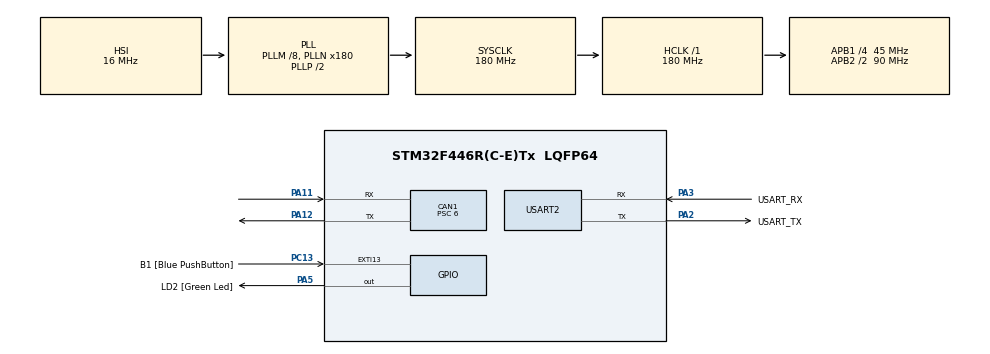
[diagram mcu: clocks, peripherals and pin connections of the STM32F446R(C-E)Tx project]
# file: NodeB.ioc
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CAN1.BS1=CAN_BS1_11TQ
CAN1.BS2=CAN_BS2_3TQ
CAN1.CalculateBaudRate=500000
CAN1.CalculateTimeBit=2000
CAN1.CalculateTimeQuantum=133.33333333333331
CAN1.Prescaler=6
FREERTOS.Tasks01=defaultTask,24,128,StartDefaultTask,Default,NULL,Dynamic,NULL,NULL
FREERTOS.configUSE_NEWLIB_REENTRANT=1
Mcu.Family=STM32F4
Mcu.Name=STM32F446R(C-E)Tx
Mcu.Package=LQFP64
NVIC.CAN1_RX0_IRQn=true\:5\:0\:false\:false\:true\:true\:true\:true\:true
NVIC.PriorityGroup=NVIC_PRIORITYGROUP_4
NVIC.TIM1_UP_TIM10_IRQn=true\:15\:0\:false\:false\:true\:false\:false\:true\:true
NVIC.TimeBase=TIM1_UP_TIM10_IRQn
NVIC.TimeBaseIP=TIM1
PA11.Mode=CAN_Activate
PA11.Signal=CAN1_RX
PA12.Mode=CAN_Activate
PA12.Signal=CAN1_TX
PA13.GPIO_Label=TMS
PA13.Mode=Serial_Wire
PA13.Signal=SYS_JTMS-SWDIO
PA14.GPIO_Label=TCK
PA14.Mode=Serial_Wire
PA14.Signal=SYS_JTCK-SWCLK
PA2.GPIO_Label=USART_TX
PA2.Mode=Asynchronous
PA2.Signal=USART2_TX
PA3.GPIO_Label=USART_RX
PA3.Mode=Asynchronous
PA3.Signal=USART2_RX
PA5.GPIO_Label=LD2 [Green Led]
PA5.Signal=GPIO_Output
PB3.GPIO_Label=SWO
PB3.Signal=SYS_JTDO-SWO
PC13.GPIO_Label=B1 [Blue PushButton]
PC13.GPIO_ModeDefaultEXTI=GPIO_MODE_IT_FALLING
PC13.Signal=GPXTI13
PC14-OSC32_IN.Signal=RCC_OSC32_IN
PC15-OSC32_OUT.Signal=RCC_OSC32_OUT
PH0-OSC_IN.Mode=HSE-External-Oscillator
PH0-OSC_IN.Signal=RCC_OSC_IN
PH1-OSC_OUT.Mode=HSE-External-Oscillator
PH1-OSC_OUT.Signal=RCC_OSC_OUT
ProjectManager.HeapSize=0x200
ProjectManager.StackSize=0x400
ProjectManager.TargetToolchain=STM32CubeIDE
RCC.AHBFreq_Value=180000000
RCC.APB1CLKDivider=RCC_HCLK_DIV4
RCC.APB1Freq_Value=45000000
RCC.APB1TimFreq_Value=90000000
RCC.APB2CLKDivider=RCC_HCLK_DIV2
RCC.APB2Freq_Value=90000000
RCC.APB2TimFreq_Value=180000000
RCC.CortexFreq_Value=180000000
RCC.FLatency-AdvancedSettings=FLASH_LATENCY_5
RCC.HCLKFreq_Value=180000000
RCC.HSE_VALUE=8000000
RCC.HSI_VALUE=16000000
RCC.LSE_VALUE=32768
RCC.PLLM=8
RCC.PLLN=180
RCC.SYSCLKFreq_VALUE=180000000
RCC.SYSCLKSource=RCC_SYSCLKSOURCE_PLLCLK
RCC.USBFreq_Value=180000000
RCC.VCOOutputFreq_Value=360000000
USART2.VirtualMode=VM_ASYNC
VP_FREERTOS_VS_CMSIS_V2.Mode=CMSIS_V2
VP_SYS_VS_tim1.Mode=TIM1
board=NUCLEO-F446RE

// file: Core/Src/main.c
/* USER CODE BEGIN Header */
/**
  ******************************************************************************
  * @file           : main.c
  * @brief          : Main program body
  ******************************************************************************
  * @attention
  *
  * Copyright (c) 2026 STMicroelectronics.
  * All rights reserved.
  *
  * This software is licensed under terms that can be found in the LICENSE file
  * in the root directory of this software component.
  * If no LICENSE file comes with this software, it is provided AS-IS.
  *
  ******************************************************************************
  */
/* USER CODE END Header */
#include "main.h"
#include "cmsis_os.h"

/* USER CODE BEGIN Includes */
#include "can_app.h"
#include "uart_log.h"
#include "tasks.h"
/* USER CODE END Includes */

CAN_HandleTypeDef hcan1;

UART_HandleTypeDef huart2;

/* Definitions for defaultTask */
osThreadId_t defaultTaskHandle;
const osThreadAttr_t defaultTask_attributes = {
  .name = "defaultTask",
  .stack_size = 128 * 4,
  .priority = (osPriority_t) osPriorityNormal,
};
/* USER CODE BEGIN PV */
osThreadId_t heartbeatTaskHandle;
osThreadId_t canTxTaskHandle;
osThreadId_t canRxTaskHandle;
osThreadId_t uartLogTaskHandle;
/* USER CODE END PV */

void SystemClock_Config(void);
static void MX_GPIO_Init(void);
static void MX_CAN1_Init(void);
static void MX_USART2_UART_Init(void);
void StartDefaultTask(void *argument);

int main(void)
{

  /* MCU Configuration--------------------------------------------------------*/

  /* Reset of all peripherals, Initializes the Flash interface and the Systick. */
  HAL_Init();

  /* Configure the system clock */
  SystemClock_Config();

  /* Initialize all configured peripherals */
  MX_GPIO_Init();
  MX_CAN1_Init();
  MX_USART2_UART_Init();
  /* USER CODE BEGIN 2 */
  UART_Log_Init(&huart2);
  CAN_App_Init(&hcan1);
  UART_Log("SYSTEM", "Node B starting...");
  /* USER CODE END 2 */

  /* Init scheduler */
  osKernelInitialize();

  /* USER CODE BEGIN RTOS_QUEUES */
  logQueueHandle = osMessageQueueNew(10, 128, NULL);
  /* USER CODE END RTOS_QUEUES */

  /* Create the thread(s) */
  /* creation of defaultTask */
  defaultTaskHandle = osThreadNew(StartDefaultTask, NULL, &defaultTask_attributes);

  /* USER CODE BEGIN RTOS_THREADS */
  static const osThreadAttr_t heartbeatAttr = {
      .name       = "Heartbeat",
      .stack_size = 128 * 4,
      .priority   = osPriorityLow,
  };

  static const osThreadAttr_t canTxAttr = {
      .name       = "CAN_TX",
      .stack_size = 256 * 4,
      .priority   = osPriorityNormal,
  };

  static const osThreadAttr_t canRxAttr = {
      .name       = "CAN_RX",
      .stack_size = 256 * 4,
      .priority   = osPriorityAboveNormal,
  };

  static const osThreadAttr_t uartLogAttr = {
      .name       = "UART_LOG",
      .stack_size = 256 * 4,
      .priority   = osPriorityBelowNormal,
  };

  heartbeatTaskHandle = osThreadNew(vHeartbeatTask,   NULL, &heartbeatAttr);
  canTxTaskHandle     = osThreadNew(vCANTransmitTask,  NULL, &canTxAttr);
  canRxTaskHandle     = osThreadNew(vCANReceiveTask,   NULL, &canRxAttr);
  uartLogTaskHandle   = osThreadNew(vUARTLogTask,      NULL, &uartLogAttr);
  /* USER CODE END RTOS_THREADS */

  /* Start scheduler */
  osKernelStart();

  /* We should never get here as control is now taken by the scheduler */

  /* Infinite loop */
  while (1)
  {

  }
}

void SystemClock_Config(void)
{
  RCC_OscInitTypeDef RCC_OscInitStruct = {0};
  RCC_ClkInitTypeDef RCC_ClkInitStruct = {0};

  /** Configure the main internal regulator output voltage
  */
  __HAL_RCC_PWR_CLK_ENABLE();
  __HAL_PWR_VOLTAGESCALING_CONFIG(PWR_REGULATOR_VOLTAGE_SCALE1);

  /** Initializes the RCC Oscillators according to the specified parameters
  * in the RCC_OscInitTypeDef structure.
  */
  RCC_OscInitStruct.OscillatorType = RCC_OSCILLATORTYPE_HSI;
  RCC_OscInitStruct.HSIState = RCC_HSI_ON;
  RCC_OscInitStruct.HSICalibrationValue = RCC_HSICALIBRATION_DEFAULT;
  RCC_OscInitStruct.PLL.PLLState = RCC_PLL_ON;
  RCC_OscInitStruct.PLL.PLLSource = RCC_PLLSOURCE_HSI;
  RCC_OscInitStruct.PLL.PLLM = 8;
  RCC_OscInitStruct.PLL.PLLN = 180;
  RCC_OscInitStruct.PLL.PLLP = RCC_PLLP_DIV2;
  RCC_OscInitStruct.PLL.PLLQ = 2;
  RCC_OscInitStruct.PLL.PLLR = 2;
  if (HAL_RCC_OscConfig(&RCC_OscInitStruct) != HAL_OK)
  {
    Error_Handler();
  }

  /** Activate the Over-Drive mode
  */
  if (HAL_PWREx_EnableOverDrive() != HAL_OK)
  {
    Error_Handler();
  }

  /** Initializes the CPU, AHB and APB buses clocks
  */
  RCC_ClkInitStruct.ClockType = RCC_CLOCKTYPE_HCLK|RCC_CLOCKTYPE_SYSCLK
                              |RCC_CLOCKTYPE_PCLK1|RCC_CLOCKTYPE_PCLK2;
  RCC_ClkInitStruct.SYSCLKSource = RCC_SYSCLKSOURCE_PLLCLK;
  RCC_ClkInitStruct.AHBCLKDivider = RCC_SYSCLK_DIV1;
  RCC_ClkInitStruct.APB1CLKDivider = RCC_HCLK_DIV4;
  RCC_ClkInitStruct.APB2CLKDivider = RCC_HCLK_DIV2;

  if (HAL_RCC_ClockConfig(&RCC_ClkInitStruct, FLASH_LATENCY_5) != HAL_OK)
  {
    Error_Handler();
  }
}

static void MX_CAN1_Init(void)
{

  hcan1.Instance = CAN1;
  hcan1.Init.Prescaler = 6;
  hcan1.Init.Mode = CAN_MODE_NORMAL;
  hcan1.Init.SyncJumpWidth = CAN_SJW_1TQ;
  hcan1.Init.TimeSeg1 = CAN_BS1_11TQ;
  hcan1.Init.TimeSeg2 = CAN_BS2_3TQ;
  hcan1.Init.TimeTriggeredMode = DISABLE;
  hcan1.Init.AutoBusOff = DISABLE;
  hcan1.Init.AutoWakeUp = DISABLE;
  hcan1.Init.AutoRetransmission = DISABLE;
  hcan1.Init.ReceiveFifoLocked = DISABLE;
  hcan1.Init.TransmitFifoPriority = DISABLE;
  if (HAL_CAN_Init(&hcan1) != HAL_OK)
  {
    Error_Handler();
  }

}

static void MX_USART2_UART_Init(void)
{

  huart2.Instance = USART2;
  huart2.Init.BaudRate = 115200;
  huart2.Init.WordLength = UART_WORDLENGTH_8B;
  huart2.Init.StopBits = UART_STOPBITS_1;
  huart2.Init.Parity = UART_PARITY_NONE;
  huart2.Init.Mode = UART_MODE_TX_RX;
  huart2.Init.HwFlowCtl = UART_HWCONTROL_NONE;
  huart2.Init.OverSampling = UART_OVERSAMPLING_16;
  if (HAL_UART_Init(&huart2) != HAL_OK)
  {
    Error_Handler();
  }

}

static void MX_GPIO_Init(void)
{
  GPIO_InitTypeDef GPIO_InitStruct = {0};

  /* GPIO Ports Clock Enable */
  __HAL_RCC_GPIOC_CLK_ENABLE();
  __HAL_RCC_GPIOH_CLK_ENABLE();
  __HAL_RCC_GPIOA_CLK_ENABLE();
  __HAL_RCC_GPIOB_CLK_ENABLE();

  /*Configure GPIO pin Output Level */
  HAL_GPIO_WritePin(LD2_GPIO_Port, LD2_Pin, GPIO_PIN_RESET);

  /*Configure GPIO pin : B1_Pin */
  GPIO_InitStruct.Pin = B1_Pin;
  GPIO_InitStruct.Mode = GPIO_MODE_IT_FALLING;
  GPIO_InitStruct.Pull = GPIO_NOPULL;
  HAL_GPIO_Init(B1_GPIO_Port, &GPIO_InitStruct);

  /*Configure GPIO pin : LD2_Pin */
  GPIO_InitStruct.Pin = LD2_Pin;
  GPIO_InitStruct.Mode = GPIO_MODE_OUTPUT_PP;
  GPIO_InitStruct.Pull = GPIO_NOPULL;
  GPIO_InitStruct.Speed = GPIO_SPEED_FREQ_LOW;
  HAL_GPIO_Init(LD2_GPIO_Port, &GPIO_InitStruct);

}

void StartDefaultTask(void *argument)
{
  for(;;)
  {
    osDelay(1);
  }
}

void HAL_TIM_PeriodElapsedCallback(TIM_HandleTypeDef *htim)
{
  if (htim->Instance == TIM1) {
    HAL_IncTick();
  }
}

void Error_Handler(void)
{
  __disable_irq();
  while (1)
  {
  }
}
